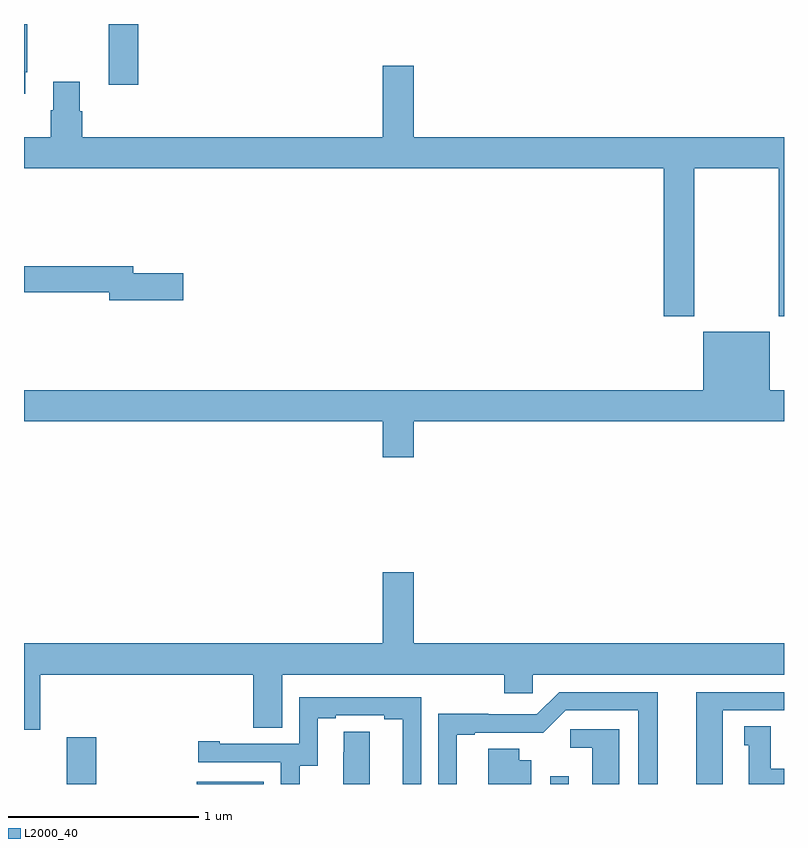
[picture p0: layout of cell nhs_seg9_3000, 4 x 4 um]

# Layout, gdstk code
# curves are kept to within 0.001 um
import gdstk
lib = gdstk.Library(unit=1e-6, precision=1e-09)
def R(c, l, rs):  # rectangles x0, y0, x1, y1
    for r in rs: c.add(gdstk.rectangle(r[:2], r[2:], *l))
def P(c, l, *ps):  # polygons
    for p in ps: c.add(gdstk.Polygon(p, *l))
L2000_40 = (2000, 40)

nhs_seg9_3000 = lib.new_cell('nhs_seg9_3000')
R(nhs_seg9_3000, L2000_40, [(283.225,1206.5,283.379,1206.745), (283.91,1206.5,284.263,1206.511), (285.771,1206.5,285.867,1206.541), (283.447,1210.179,283.601,1210.5)])
P(nhs_seg9_3000, L2000_40, [(283.006,1210.246),(283.018,1210.246),(283.018,1210.5),(283,1210.5),(283,1210.134),(283.006,1210.134)],
  [(286.527,1209.74),(286.972,1209.74),(286.972,1208.961),(287,1208.961),(287,1209.904),(285.052,1209.904),(285.052,1210.279),(284.888,1210.279),(284.888,1209.904),(283.307,1209.904),(283.307,1210.041),(283.294,1210.041),(283.294,1210.195),(283.154,1210.195),(283.154,1210.046),(283.142,1210.046),(283.142,1209.904),(283,1209.904),(283,1209.74),(286.367,1209.74),(286.367,1208.961),(286.527,1208.961)],
  [(283.837,1209.188),(283.576,1209.188),(283.576,1209.224),(283,1209.224),(283,1209.088),(283.448,1209.088),(283.448,1209.046),(283.837,1209.046)],
  [(285.052,1208.408),(287,1208.408),(287,1208.572),(286.924,1208.572),(286.924,1208.881),(286.574,1208.881),(286.574,1208.572),(283,1208.572),(283,1208.408),(284.888,1208.408),(284.888,1208.22),(285.052,1208.22)],
  [(283.085,1207.076),(284.207,1207.076),(284.207,1206.796),(284.359,1206.796),(284.359,1207.076),(285.527,1207.076),(285.527,1206.978),(285.678,1206.978),(285.678,1207.076),(287,1207.076),(287,1207.24),(285.052,1207.24),(285.052,1207.615),(284.888,1207.615),(284.888,1207.24),(283,1207.24),(283,1206.786),(283.085,1206.786)],
  [(286.678,1206.888),(287,1206.888),(287,1206.984),(286.538,1206.984),(286.538,1206.5),(286.678,1206.5)],
  [(285.277,1206.759),(285.373,1206.759),(285.373,1206.771),(285.734,1206.77),(285.852,1206.888),(286.232,1206.888),(286.232,1206.5),(286.336,1206.5),(286.336,1206.984),(285.816,1206.984),(285.699,1206.867),(285.443,1206.867),(285.443,1206.869),(285.18,1206.869),(285.18,1206.5),(285.277,1206.5)],
  [(284.451,1206.595),(284.545,1206.595),(284.545,1206.846),(284.641,1206.846),(284.641,1206.861),(284.897,1206.861),(284.897,1206.841),(284.993,1206.841),(284.993,1206.5),(285.09,1206.5),(285.09,1206.957),(284.448,1206.957),(284.448,1206.711),(284.029,1206.711),(284.029,1206.724),(283.917,1206.724),(283.917,1206.615),(284.352,1206.615),(284.352,1206.5),(284.451,1206.5)],
  [(287,1206.58),(286.93,1206.58),(286.93,1206.803),(286.79,1206.803),(286.79,1206.705),(286.814,1206.705),(286.814,1206.5),(287,1206.5)],
  [(286.132,1206.789),(285.876,1206.789),(285.876,1206.692),(285.992,1206.692),(285.992,1206.5),(286.132,1206.5)],
  [(284.821,1206.776),(284.682,1206.776),(284.682,1206.668),(284.681,1206.668),(284.681,1206.5),(284.821,1206.5)],
  [(285.67,1206.625),(285.607,1206.625),(285.607,1206.686),(285.443,1206.686),(285.443,1206.5),(285.67,1206.5)])

lib.write_gds('nhs_seg9_3000.gds')
